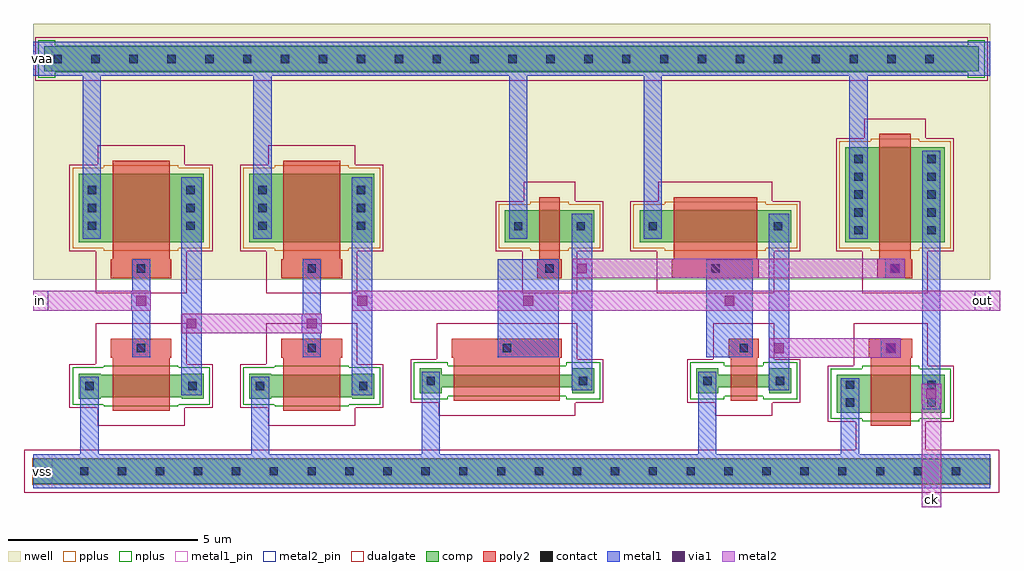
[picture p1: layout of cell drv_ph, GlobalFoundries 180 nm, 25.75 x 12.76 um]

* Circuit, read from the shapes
.subckt drv_ph ck in out vaa vss
XM1 n1 in vss vss nfet_06v0 w=0.6u l=1.5u
XM2 out n1 vss vss nfet_06v0 w=0.6u l=1.5u
XM3 n2 out vss vss nfet_06v0 w=0.335u l=2.8u
XM4 n3 out vss vss nfet_06v0 w=0.335u l=0.7u
XM5 ck n3 vss vss nfet_06v0 w=1u l=1.05u
XM6 n1 in vaa vaa pfet_06v0 w=1.8u l=1.5u
XM7 out n1 vaa vaa pfet_06v0 w=1.8u l=1.5u
XM8 n2 out vaa vaa pfet_06v0 w=0.835u l=0.55u
XM9 n3 out vaa vaa pfet_06v0 w=0.835u l=2.2u
XM10 ck n2 vaa vaa pfet_06v0 w=2.5u l=0.825u
.ends

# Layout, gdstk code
import gdstk
lib = gdstk.Library(unit=1e-6, precision=1e-09)
def R(c, l, rs):  # rectangles x0, y0, x1, y1
    for r in rs: c.add(gdstk.rectangle(r[:2], r[2:], *l))
def A(c, l, x, y, w, h, nx, ny, dx, dy):  # array of equal rectangles
    R(c, l, [(x+i*dx, y+j*dy, x+i*dx+w, y+j*dy+h) for i in range(nx) for j in range(ny)])
nwell = (21, 0)
comp = (22, 0)
poly2 = (30, 0)
pplus = (31, 0)
nplus = (32, 0)
contact = (33, 0)
metal1 = (34, 0)
metal1_pin = (34, 10)
via1 = (35, 0)
metal2 = (36, 0)
metal2_pin = (36, 10)
dualgate = (55, 0)

drv_ph = lib.new_cell('drv_ph')
R(drv_ph, nwell, [(0,5.5,25.25,12.26)])
R(drv_ph, comp, [(0,0.12,25.25,0.78), (21.2,2,24.05,3), (1.2,2.37,1.78,2.4), (3.92,2.37,4.5,2.4), (5.7,2.37,6.28,2.4), (8.42,2.37,9,2.4), (1.2,2.4,4.5,3), (5.7,2.4,9,3), (10.2,2.505,10.78,2.665), (14.22,2.505,14.8,2.665), (17.5,2.505,18.08,2.665), (19.42,2.505,20,2.665), (10.2,2.665,14.8,3), (17.5,2.665,20,3), (1.2,3,1.78,3.03), (3.92,3,4.5,3.03), (5.7,3,6.28,3.03), (8.42,3,9,3.03), (10.2,3,10.78,3.165), (14.22,3,14.8,3.165), (17.5,3,18.08,3.165), (19.42,3,20,3.165), (1.2,6.5,4.5,8.3), (5.7,6.5,9,8.3), (12.45,6.5,14.8,7.335), (16,6.5,20,7.335), (21.425,6.5,24.05,9), (0.3,11,24.95,11.66)])
R(drv_ph, poly2, [(22.1,1.65,23.15,3.45), (2.1,2.05,3.6,3.45), (6.6,2.05,8.1,3.45), (11.1,2.315,13.9,3.45), (18.4,2.315,19.1,3.45), (2.05,3.45,3.65,3.95), (6.55,3.45,8.15,3.95), (11.05,3.45,13.95,3.95), (18.35,3.45,19.15,3.95), (22.05,3.45,23.2,3.95), (2.05,5.55,3.65,6.05), (6.55,5.55,8.15,6.05), (13.3,5.55,13.95,6.05), (16.85,5.55,19.15,6.05), (22.275,5.55,23.2,6.05), (2.1,6.05,3.6,8.65), (6.6,6.05,8.1,8.65), (13.35,6.05,13.9,7.685), (16.9,6.05,19.1,7.685), (22.325,6.05,23.15,9.35)])
R(drv_ph, pplus, [(-0.02,0.1,25.27,0.8), (1.87,6.27,3.83,6.34), (6.37,6.27,8.33,6.34), (13.12,6.27,14.13,6.34), (16.67,6.27,19.33,6.34), (22.095,6.27,23.38,6.34), (1.04,6.34,4.66,8.46), (5.54,6.34,9.16,8.46), (12.29,6.34,14.96,7.495), (15.84,6.34,20.16,7.495), (21.265,6.34,24.21,9.16), (13.12,7.495,14.13,7.565), (16.67,7.495,19.33,7.565), (1.87,8.46,3.83,8.53), (6.37,8.46,8.33,8.53), (22.095,9.16,23.38,9.23)])
R(drv_ph, nplus, [(21.87,1.77,23.38,1.84), (21.04,1.84,24.21,3.16), (1.87,2.17,3.83,2.21), (6.37,2.17,8.33,2.21), (1.04,2.21,4.66,3.19), (5.54,2.21,9.16,3.19), (10.04,2.345,10.94,2.435), (14.06,2.345,14.96,2.435), (17.34,2.345,18.24,2.435), (19.26,2.345,20.16,2.435), (10.04,2.435,14.96,3.23), (17.34,2.435,20.16,3.23), (21.87,3.16,23.38,3.23), (1.87,3.19,3.83,3.23), (6.37,3.19,8.33,3.23), (10.04,3.23,10.94,3.325), (14.06,3.23,14.96,3.325), (17.34,3.23,18.24,3.325), (19.26,3.23,20.16,3.325), (0.14,10.84,0.59,10.98), (24.66,10.84,25.11,10.98), (0.14,10.98,25.11,11.68), (0.14,11.68,0.59,11.82), (24.66,11.68,25.11,11.82)])
A(drv_ph, contact, 0.24, 0.34, 0.22, 0.22, 25, 1, 1, 0)
A(drv_ph, contact, 21.665, 6.7, 0.22, 0.22, 1, 5, 0, 0.47)
A(drv_ph, contact, 23.59, 6.7, 0.22, 0.22, 1, 5, 0, 0.47)
A(drv_ph, contact, 1.44, 6.82, 0.22, 0.22, 1, 3, 0, 0.47)
A(drv_ph, contact, 4.04, 6.82, 0.22, 0.22, 1, 3, 0, 0.47)
A(drv_ph, contact, 5.94, 6.82, 0.22, 0.22, 1, 3, 0, 0.47)
A(drv_ph, contact, 8.54, 6.82, 0.22, 0.22, 1, 3, 0, 0.47)
A(drv_ph, contact, 0.54, 11.22, 0.22, 0.22, 24, 1, 1, 0)
R(drv_ph, contact, [(21.44,2.155,21.66,2.375), (23.59,2.155,23.81,2.375), (1.38,2.59,1.6,2.81), (4.1,2.59,4.32,2.81), (5.88,2.59,6.1,2.81), (8.6,2.59,8.82,2.81), (21.44,2.625,21.66,2.845), (23.59,2.625,23.81,2.845), (10.38,2.725,10.6,2.945), (14.4,2.725,14.62,2.945), (17.68,2.725,17.9,2.945), (19.6,2.725,19.82,2.945), (2.74,3.59,2.96,3.81), (7.24,3.59,7.46,3.81), (12.39,3.59,12.61,3.81), (18.64,3.59,18.86,3.81), (22.515,3.59,22.735,3.81), (2.74,5.69,2.96,5.91), (7.24,5.69,7.46,5.91), (13.515,5.69,13.735,5.91), (17.89,5.69,18.11,5.91), (22.63,5.69,22.85,5.91), (12.69,6.805,12.91,7.025), (14.34,6.805,14.56,7.025), (16.24,6.805,16.46,7.025), (19.54,6.805,19.76,7.025)])
R(drv_ph, metal1, [(0,0,25.25,0.9), (1.25,0.9,1.73,2.94), (5.75,0.9,6.23,2.94), (10.25,0.9,10.73,3.075), (17.55,0.9,18.03,3.075), (21.31,0.9,21.79,2.91), (23.46,2.09,23.94,2.24), (23.44,2.24,23.96,2.76), (3.91,2.46,4.45,8.21), (8.41,2.46,8.95,8.21), (14.21,2.595,14.75,7.245), (19.41,2.595,19.95,7.245), (23.46,2.76,23.94,8.91), (22.365,3.44,22.885,3.96), (2.61,3.46,3.09,4.69), (7.11,3.46,7.59,4.09), (12.26,3.46,13.865,6.04), (17.76,3.46,18.99,6.04), (7.09,4.09,7.61,4.61), (7.11,4.61,7.59,6.04), (2.59,4.69,3.11,5.21), (2.61,5.21,3.09,6.04), (22.48,5.54,23,6.06), (1.31,6.59,1.79,10.88), (5.81,6.59,6.29,10.88), (12.56,6.59,13.04,10.88), (16.11,6.59,16.59,10.88), (21.535,6.59,22.015,10.88), (0,10.88,25.25,11.78)])
R(drv_ph, metal1_pin, [(0,0,0.5,0.9), (0,10.88,0.5,11.78)])
R(drv_ph, via1, [(23.57,2.37,23.83,2.63), (19.55,3.57,19.81,3.83), (22.495,3.57,22.755,3.83), (4.05,4.22,4.31,4.48), (7.22,4.22,7.48,4.48), (2.72,4.82,2.98,5.08), (8.55,4.82,8.81,5.08), (12.93,4.82,13.19,5.08), (18.245,4.82,18.505,5.08), (14.35,5.67,14.61,5.93), (22.61,5.67,22.87,5.93)])
R(drv_ph, metal2, [(23.44,-0.5,23.96,2.76), (19.42,3.44,22.885,3.96), (3.92,4.09,7.61,4.61), (0,4.69,3.11,5.21), (8.42,4.69,25.51,5.21), (14.22,5.54,23,6.06)])
R(drv_ph, metal2_pin, [(23.44,-0.5,23.96,-0.1), (0,4.69,0.4,5.21), (24.85,4.69,25.25,5.21)])
R(drv_ph, dualgate, [(-0.24,-0.12,25.49,1.02), (21.7,1.02,23.55,1.76), (1.7,1.65,4,2.13), (6.2,1.65,8.5,2.13), (20.96,1.76,24.29,3.24), (10.7,1.915,14.3,2.265), (18,1.915,19.5,2.265), (0.96,2.13,4.74,3.27), (5.46,2.13,9.24,3.27), (9.96,2.265,15.04,3.405), (17.26,2.265,20.24,3.405), (21.65,3.24,23.6,4.35), (1.65,3.27,4.05,4.35), (6.15,3.27,8.55,4.35), (10.65,3.405,14.35,4.35), (17.95,3.405,19.55,4.35), (1.65,5.15,4.05,6.26), (6.15,5.15,8.55,6.26), (12.9,5.15,14.35,6.26), (16.45,5.15,19.55,6.26), (21.875,5.15,23.6,6.26), (0.96,6.26,4.74,8.54), (5.46,6.26,9.24,8.54), (12.21,6.26,15.04,7.575), (15.76,6.26,20.24,7.575), (21.185,6.26,24.29,9.24), (12.95,7.575,14.3,8.085), (16.5,7.575,19.5,8.085), (1.7,8.54,4,9.05), (6.2,8.54,8.5,9.05), (21.925,9.24,23.55,9.75), (0.06,10.76,25.19,11.9)])
drv_ph.add(gdstk.Label('vaa', (0.25,11.33), layer=34, texttype=10))
drv_ph.add(gdstk.Label('vss', (0.25,0.45), layer=34, texttype=10))
drv_ph.add(gdstk.Label('ck', (23.7,-0.3), layer=36, texttype=10))
drv_ph.add(gdstk.Label('out', (25.05,4.95), layer=36, texttype=10))
drv_ph.add(gdstk.Label('in', (0.2,4.95), layer=36, texttype=10))

lib.write_gds('drv_ph.gds')
